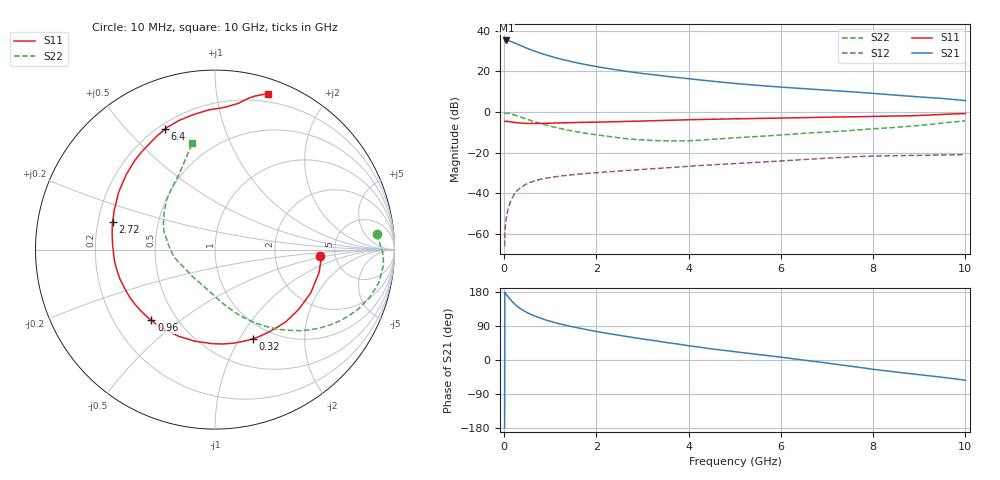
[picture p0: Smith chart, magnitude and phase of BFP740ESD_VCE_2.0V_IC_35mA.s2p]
! Infineon Technologies  Discrete & RF Semiconductors
! BFP740ESD
! VCE =  2.0 V,  IC =  35 mA
! Common Emitter S-Parameters:  Jan 2016
# GHz  S  MA  R  50
!  f  S11  S21  S12  S22
! GHz  MAG  ANG  MAG  ANG  MAG  ANG  MAG  ANG
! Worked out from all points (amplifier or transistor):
!   233 points, 10 MHz to 10 GHz, reference 50 ohm
!   highest |S21| = 35.2 dB at 50 MHz (marker M1)
!   |S21| within 3 dB of that: start of sweep to 408.2 MHz
!   unconditionally stable (mu >= 1): start of sweep to 15.49 MHz; 3.342 GHz to 6.917 GHz
!   at 200 MHz: K = 0.25, MSG = 37.8 dB, |S12| = -41.2 dB
!   at 1.74 GHz: K = 0.75, MSG = 26.9 dB, |S12| = -30.3 dB
!   at 10 GHz: K = 0.69, MSG = 13.3 dB, |S12| = -21.0 dB
!   S11 on the Smith chart (normalised r, x): 10 MHz: 3.80, -0.39; 320 MHz: 0.82, -1.14; 960 MHz: 0.36, -0.40; 2.72 GHz: 0.26, +0.12; 6.4 GHz: 0.23, +0.64; 10 GHz: 0.12, +1.39
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0.01  0.587 -3.3  55.24 -179.1  0.0005 92.6  0.9049 5.5
0.02  0.5936 -5.3  57.57 177.4  0.0013 83.3  0.9346 -1.0
0.05  0.5939 -12.5  57.77 172.6  0.0026 83.3  0.9436 -5.1
0.1  0.5855 -24.3  57 164.7  0.0047 77.3  0.9305 -11.6
0.15  0.5731 -35.5  54.46 157.3  0.0068 74.5  0.9007 -17.4
0.19  0.5637 -43.6  52.4 152.2  0.0083 71.6  0.8713 -21.4
0.26  0.5487 -56.7  48.43 144.0  0.0108 66.6  0.8193 -27.7
0.32  0.5393 -66.9  45.18 138.3  0.0127 63.5  0.7748 -32.3
0.45  0.5277 -85.4  38.98 128.2  0.0161 57.4  0.6881 -40.6
0.6  0.5226 -102.5  33.4 119.0  0.0192 52.1  0.6035 -48.1
0.8  0.5255 -120.6  27.72 109.7  0.0223 46.9  0.5164 -56.3
0.96  0.5301 -132.0  24.4 103.5  0.0242 43.9  0.4611 -61.6
1.3  0.5441 -150.9  19.19 92.4  0.0273 39.7  0.3741 -71.4
1.68  0.5563 -166.2  15.4 82.6  0.0301 37.4  0.3117 -80.2
2.2  0.5708 177.7  12.01 71.0  0.0334 35.6  0.2553 -91.5
2.72  0.5902 164.9  9.793 60.7  0.0368 34.7  0.217 -105.2
3.4  0.6189 151.1  7.846 48.5  0.0416 33.4  0.1965 -125.1
5.1  0.684 125.5  4.942 20.4  0.0546 27.6  0.2358 -172.9
6.4  0.7265 112.6  3.825 1.2  0.0667 21.7  0.295 162.3
6.8  0.7395 108.0  3.573 -4.9  0.0711 18.9  0.3133 156.1
8.4  0.7902 87.4  2.64 -30.4  0.0838 3.9  0.4131 126.5
10  0.9192 71.1  1.91 -53.4  0.0895 -8.9  0.6096 101.9
